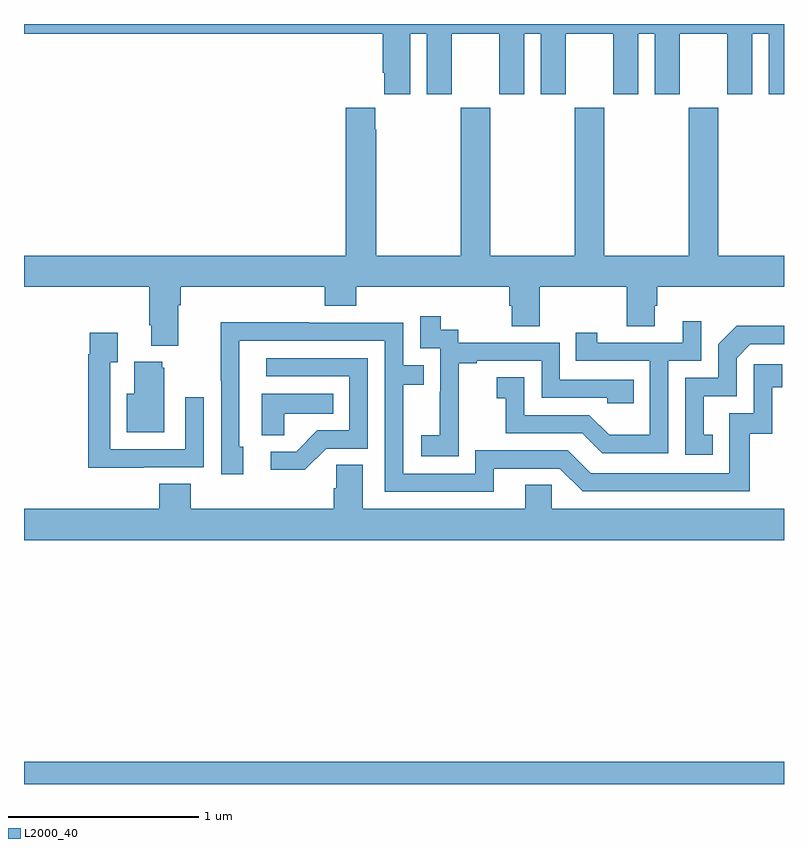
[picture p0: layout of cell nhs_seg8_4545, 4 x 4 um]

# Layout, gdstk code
import gdstk
lib = gdstk.Library(unit=1e-6, precision=1e-09)
def R(c, l, rs):  # rectangles x0, y0, x1, y1
    for r in rs: c.add(gdstk.rectangle(r[:2], r[2:], *l))
def P(c, l, *ps):  # polygons
    for p in ps: c.add(gdstk.Polygon(p, *l))
L2000_40 = (2000, 40)

nhs_seg8_4545 = lib.new_cell('nhs_seg8_4545')
R(nhs_seg8_4545, L2000_40, [(387,1097.9,391,1098.016)])
P(nhs_seg8_4545, L2000_40, [(389.032,1101.848),(389.12,1101.848),(389.12,1101.531),(389.251,1101.531),(389.251,1101.848),(389.501,1101.848),(389.501,1101.531),(389.632,1101.531),(389.632,1101.848),(389.72,1101.848),(389.72,1101.531),(389.851,1101.531),(389.851,1101.848),(390.101,1101.848),(390.101,1101.531),(390.232,1101.531),(390.232,1101.848),(390.32,1101.848),(390.32,1101.531),(390.451,1101.531),(390.451,1101.848),(390.701,1101.848),(390.701,1101.531),(390.832,1101.531),(390.832,1101.848),(390.92,1101.848),(390.92,1101.531),(391,1101.531),(391,1101.9),(387,1101.9),(387,1101.848),(388.889,1101.848),(388.889,1101.643),(388.895,1101.643),(388.895,1101.531),(389.032,1101.531)],
  [(387.811,1100.42),(387.824,1100.42),(387.824,1100.516),(388.583,1100.516),(388.583,1100.417),(388.748,1100.417),(388.748,1100.516),(389.555,1100.516),(389.555,1100.418),(389.567,1100.418),(389.567,1100.308),(389.715,1100.308),(389.715,1100.516),(390.172,1100.516),(390.172,1100.308),(390.319,1100.308),(390.319,1100.418),(390.332,1100.418),(390.332,1100.516),(391,1100.516),(391,1100.68),(390.654,1100.68),(390.654,1101.46),(390.499,1101.46),(390.499,1100.68),(390.054,1100.68),(390.054,1101.46),(389.899,1101.46),(389.899,1100.68),(389.454,1100.68),(389.454,1101.46),(389.299,1101.46),(389.299,1100.68),(388.854,1100.68),(388.854,1101.347),(388.849,1101.347),(388.849,1101.46),(388.694,1101.46),(388.694,1100.68),(387,1100.68),(387,1100.516),(387.659,1100.516),(387.659,1100.314),(387.671,1100.314),(387.671,1100.207),(387.811,1100.207)],
  [(389.289,1099.831),(389.288,1099.831),(389.288,1100.115),(389.383,1100.115),(389.383,1100.127),(389.724,1100.127),(389.724,1099.932),(390.069,1099.932),(390.069,1099.905),(390.209,1099.905),(390.209,1100.028),(389.82,1100.028),(389.82,1100.223),(389.286,1100.223),(389.286,1100.292),(389.194,1100.292),(389.194,1100.362),(389.085,1100.362),(389.085,1100.193),(389.19,1100.193),(389.19,1099.964),(389.189,1099.964),(389.189,1099.735),(389.091,1099.735),(389.091,1099.625),(389.289,1099.625)],
  [(390.39,1100.127),(390.564,1100.127),(390.564,1100.335),(390.467,1100.335),(390.467,1100.223),(390.016,1100.223),(390.016,1100.275),(389.905,1100.275),(389.905,1100.127),(390.294,1100.127),(390.294,1099.738),(390.08,1099.738),(389.976,1099.842),(389.634,1099.842),(389.634,1100.041),(389.487,1100.041),(389.487,1099.931),(389.536,1099.931),(389.536,1099.746),(389.939,1099.746),(390.044,1099.641),(390.39,1099.641)],
  [(389.473,1099.56),(389.82,1099.56),(389.94,1099.44),(390.82,1099.44),(390.82,1099.743),(390.938,1099.743),(390.938,1099.989),(390.991,1099.989),(390.991,1100.11),(390.84,1100.11),(390.84,1099.851),(390.711,1099.851),(390.711,1099.536),(389.982,1099.536),(389.862,1099.656),(389.376,1099.656),(389.376,1099.533),(388.995,1099.533),(388.995,1100.002),(389.105,1100.002),(389.105,1100.103),(388.995,1100.103),(388.995,1100.328),(388.499,1100.328),(388.499,1100.33),(388.036,1100.33),(388.036,1100.023),(388.038,1100.023),(388.038,1099.53),(388.153,1099.53),(388.153,1099.674),(388.134,1099.674),(388.134,1100.232),(388.899,1100.232),(388.899,1099.437),(389.473,1099.437)],
  [(390.626,1099.737),(390.577,1099.737),(390.577,1099.941),(390.75,1099.941),(390.75,1100.142),(390.822,1100.214),(391,1100.214),(391,1100.312),(390.752,1100.312),(390.654,1100.214),(390.654,1100.037),(390.48,1100.037),(390.48,1099.632),(390.626,1099.632)],
  [(387.629,1099.566),(387.945,1099.566),(387.945,1099.936),(387.849,1099.936),(387.849,1099.662),(387.453,1099.662),(387.453,1100.119),(387.493,1100.119),(387.493,1100.275),(387.345,1100.275),(387.345,1100.162),(387.337,1100.162),(387.337,1099.565),(387.629,1099.565)],
  [(388.59,1099.665),(388.809,1099.665),(388.809,1100.142),(388.275,1100.142),(388.275,1100.046),(388.713,1100.046),(388.713,1099.761),(388.544,1099.761),(388.433,1099.65),(388.299,1099.65),(388.299,1099.553),(388.477,1099.553)],
  [(387.739,1100.091),(387.728,1100.091),(387.728,1100.122),(387.581,1100.122),(387.581,1099.954),(387.542,1099.954),(387.542,1099.751),(387.739,1099.751)],
  [(388.371,1099.85),(388.628,1099.85),(388.628,1099.954),(388.25,1099.954),(388.25,1099.735),(388.371,1099.735)],
  [(391,1099.348),(389.778,1099.348),(389.778,1099.475),(389.639,1099.475),(389.639,1099.348),(388.783,1099.348),(388.783,1099.58),(388.644,1099.58),(388.644,1099.457),(388.631,1099.457),(388.631,1099.348),(387.878,1099.348),(387.878,1099.481),(387.713,1099.481),(387.713,1099.348),(387,1099.348),(387,1099.184),(391,1099.184)])

lib.write_gds('nhs_seg8_4545.gds')
